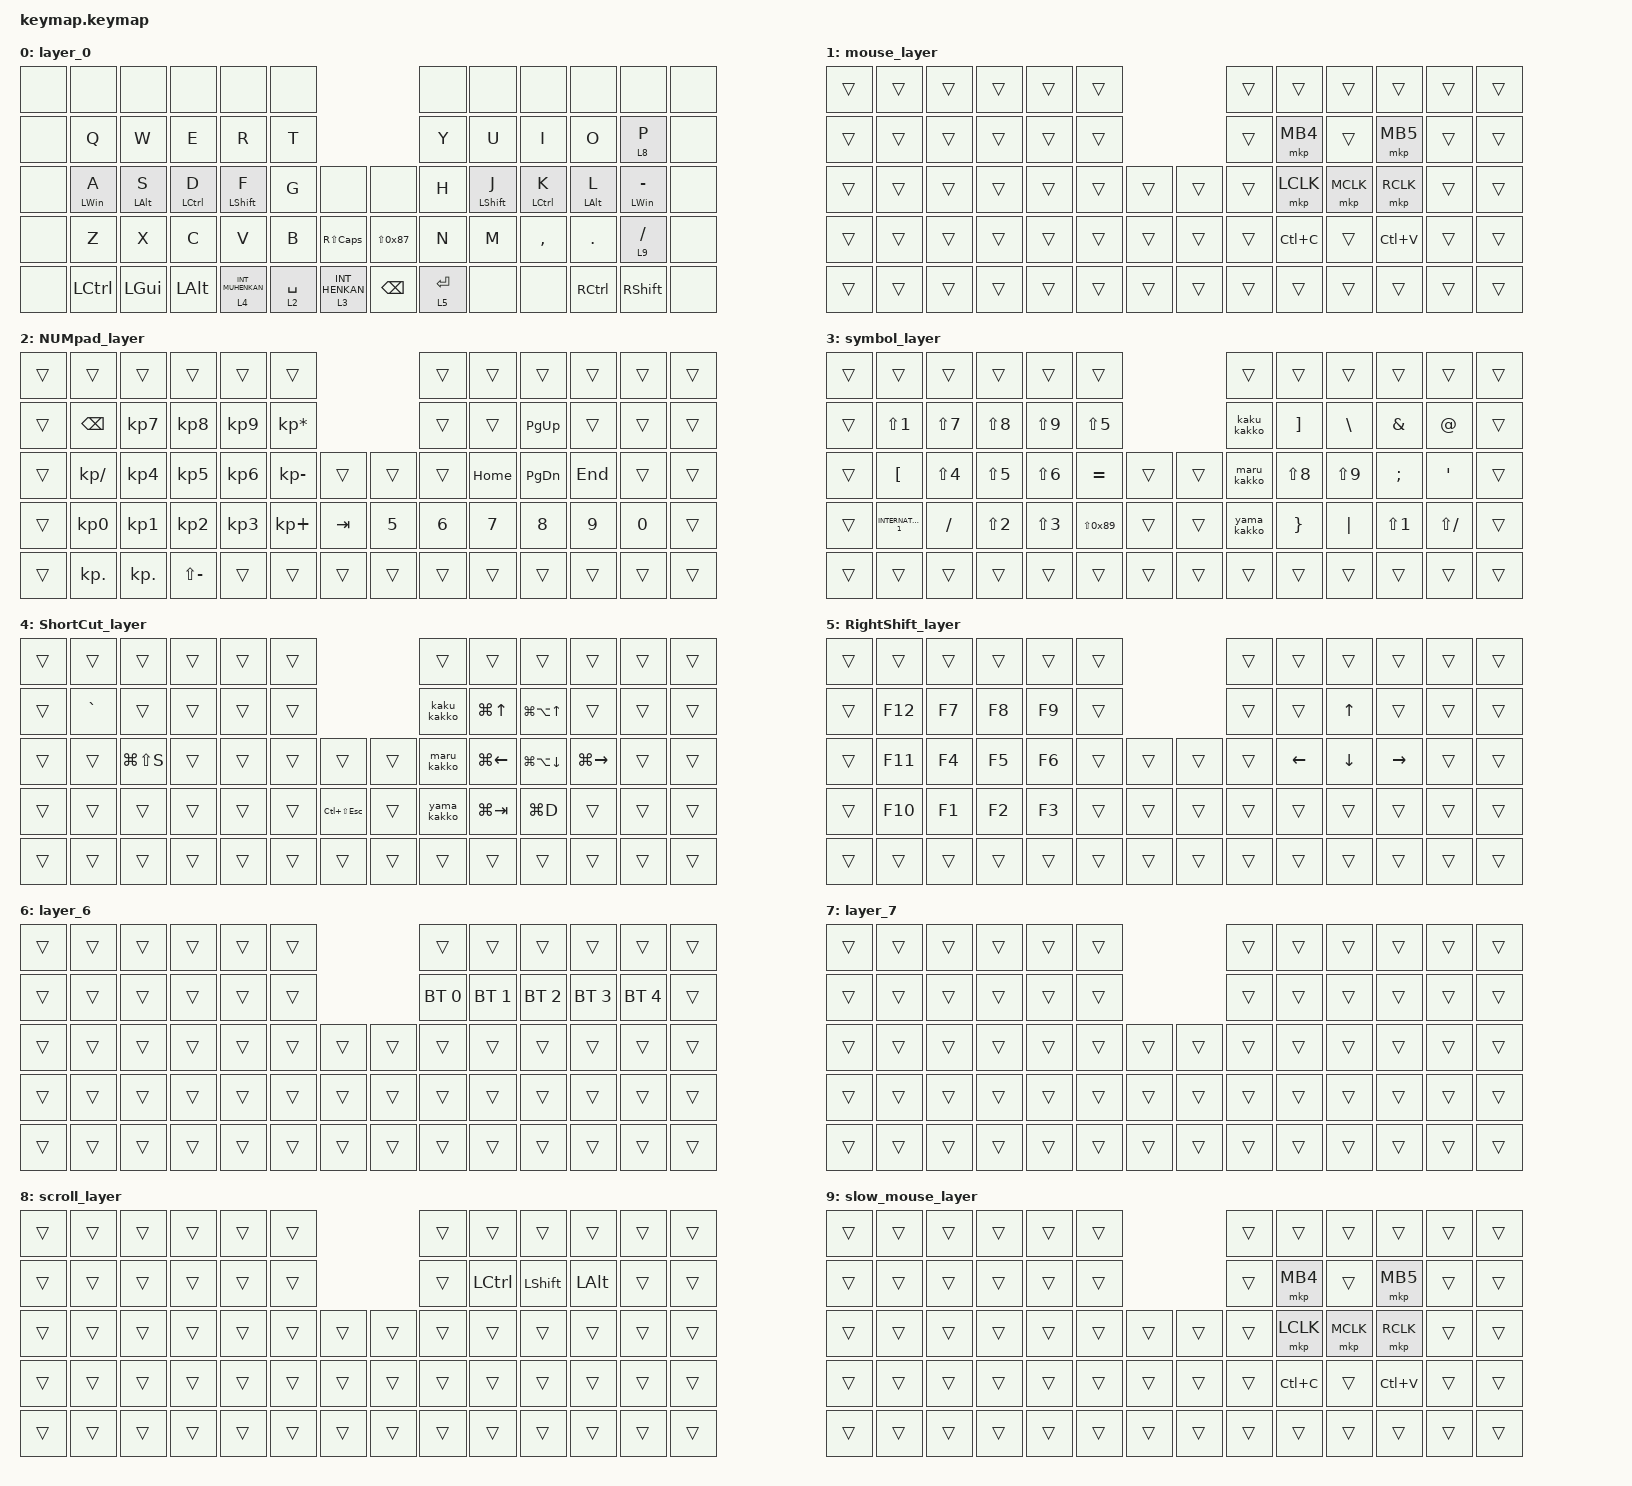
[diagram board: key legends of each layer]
// OS設定を日本語キーボードのまま使用するための変換定義

#define JP_DQUOTE       AT                // "
#define JP_AMPERSAND    CARET             // &
#define JP_QUOTE        AMPERSAND         // '
#define JP_EQUAL        UNDER             // =
#define JP_CARET        EQUAL             // ^
#define JP_YEN          0x89              // ¥
#define JP_PLUS         COLON             // +
#define JP_TILDE        PLUS              // ~
#define JP_PIPE         LS(0x89)          // |
#define JP_AT           LEFT_BRACKET      // @
#define JP_COLON        SINGLE_QUOTE      // :
#define JP_ASTERISK     DOUBLE_QUOTES     // *
#define JP_BACKQUOTE    LEFT_BRACE        // `
#define JP_UNDERSCORE   LS(0x87)          // _
#define JP_LBRACKET     RIGHT_BRACKET     // [
#define JP_RBRACKET     BACKSLASH         // ]
#define JP_LPAREN       ASTERISK          // (
#define JP_RPAREN       LEFT_PARENTHESIS  // )
#define JP_LBRACE       RIGHT_BRACE       // {
#define JP_RBRACE       PIPE              // }
#define JP_KANA         LANGUAGE_1        // かな
#define JP_EISU         LANGUAGE_2        // 英数
#define JP_HANZEN       GRAVE             // 半角/全角

#include <input/processors.dtsi>
#include <behaviors.dtsi>
#include <dt-bindings/zmk/bt.h>
#include <dt-bindings/zmk/keys.h>
#include <dt-bindings/zmk/pointing.h>

&mkp_input_listener { input-processors = <&zip_temp_layer 1 500>; };

/ {
    combos {
        compatible = "zmk,combos";

        mo_BTlayer {
            bindings = <&mo 6>;
            key-positions = <42 43>;
        };

        kp_back_space {
            bindings = <&kp BACKSPACE>;
            key-positions = <12 13>;
        };

        kp_esc {
            bindings = <&kp ESCAPE>;
            key-positions = <1 2>;
        };

        kp_delete {
            bindings = <&kp DELETE>;
            key-positions = <2 3>;
        };

        kp_tab {
            bindings = <&kp TAB>;
            key-positions = <11 12>;
        };

        kp_backslash {
            bindings = <&kp JP_YEN>;
            key-positions = <30 31>;
        };
    };

    macros {
        maru_kakko: maru_kakko {
            compatible = "zmk,behavior-macro";
            #binding-cells = <0>;
            bindings = <&kp LS(N8) &kp LS(N9) &kp LEFT>;
            label = "MARU_KAKKO";
        };

        kaku_kakko: kaku_kakko {
            compatible = "zmk,behavior-macro";
            #binding-cells = <0>;
            bindings = <&kp RIGHT_BRACKET &kp BACKSLASH &kp LEFT>;
            label = "KAKU_KAKKO";
        };

        yama_kakko: yama_kakko {
            compatible = "zmk,behavior-macro";
            #binding-cells = <0>;
            bindings = <&kp LESS_THAN &kp GREATER_THAN &kp LEFT_ARROW>;
            label = "YAMA_KAKKO";
        };
    };

    behaviors {
        hrm_r_2: hrm_r_2 {
            compatible = "zmk,behavior-hold-tap";
            label = "HRM_R_2";
            bindings = <&kp>, <&kp>;

            #binding-cells = <2>;
            flavor = "balanced";
            tapping-term-ms = <400>;
            hold-trigger-on-release;
            require-prior-idle-ms = <150>;
            hold-while-undecided;
            hold-trigger-key-positions = <0 1 2 3 4 12 13 14 24 25 10 11 20 21 22 23 32 33 34 35 36 37>;
        };

        hrm_r: hrm_r {
            compatible = "zmk,behavior-hold-tap";
            label = "HRM_R";
            bindings = <&kp>, <&kp>;

            #binding-cells = <2>;
            tapping-term-ms = <400>;
            flavor = "balanced";
            hold-trigger-key-positions = <0 1 2 3 4 12 13 14 24 25 10 11 20 21 22 23 32 33 34 35 36 37>;
            hold-trigger-on-release;
            require-prior-idle-ms = <150>;
        };

        hrm_l_2: hrm_l_2 {
            compatible = "zmk,behavior-hold-tap";
            label = "HRM_L_2";
            bindings = <&kp>, <&kp>;

            #binding-cells = <2>;
            flavor = "balanced";
            tapping-term-ms = <400>;
            hold-trigger-on-release;
            require-prior-idle-ms = <150>;
            hold-while-undecided;
            hold-trigger-key-positions = <5 6 7 8 9 15 16 17 18 19 26 27 28 29 30 31 38 39 40 41 42 43>;
        };

        hrm_l: hrm_l {
            compatible = "zmk,behavior-hold-tap";
            label = "HRM_L";
            bindings = <&kp>, <&kp>;

            #binding-cells = <2>;
            flavor = "balanced";
            tapping-term-ms = <400>;
            hold-trigger-on-release;
            require-prior-idle-ms = <150>;
            hold-trigger-key-positions = <5 6 7 8 9 15 16 17 18 19 26 27 28 29 30 31 38 39 40 41 42 43>;
        };
    };

    keymap {
        compatible = "zmk,keymap";

        layer_0 {
            bindings = <
&none  &none              &none              &none                  &none                  &none                                             &none        &none                  &none                  &none              &none                  &none
&none  &kp Q              &kp W              &kp E                  &kp R                  &kp T                                             &kp Y        &kp U                  &kp I                  &kp O              &lt 8 P                &none
&none  &hrm_l LEFT_WIN A  &hrm_l LEFT_ALT S  &hrm_l LEFT_CONTROL D  &hrm_l_2 LEFT_SHIFT F  &kp G        &none             &none              &kp H        &hrm_r_2 LEFT_SHIFT J  &hrm_r LEFT_CONTROL K  &hrm_r LEFT_ALT L  &hrm_r LEFT_WIN MINUS  &none
&none  &kp Z              &kp X              &kp C                  &kp V                  &kp B        &kp RS(CAPSLOCK)  &kp JP_UNDERSCORE  &kp N        &kp M                  &kp COMMA              &kp DOT            &lt 9 FSLH             &none
&none  &kp LCTRL          &kp LGUI           &kp LALT               &lt 4 INT_MUHENKAN     &lt 2 SPACE  &lt 3 INT_HENKAN  &kp BACKSPACE      &lt 5 ENTER  &none                  &none                  &kp RCTRL          &kp RSHIFT             &none
            >;
        };

        mouse_layer {
            bindings = <
&trans  &trans  &trans  &trans  &trans  &trans                  &trans  &trans     &trans     &trans     &trans  &trans
&trans  &trans  &trans  &trans  &trans  &trans                  &trans  &mkp MB4   &trans     &mkp MB5   &trans  &trans
&trans  &trans  &trans  &trans  &trans  &trans  &trans  &trans  &trans  &mkp LCLK  &mkp MCLK  &mkp RCLK  &trans  &trans
&trans  &trans  &trans  &trans  &trans  &trans  &trans  &trans  &trans  &kp LC(C)  &trans     &kp LC(V)  &trans  &trans
&trans  &trans  &trans  &trans  &trans  &trans  &trans  &trans  &trans  &trans     &trans     &trans     &trans  &trans
            >;
        };

        NUMpad_layer {
            bindings = <
&trans  &trans           &trans           &trans           &trans           &trans                            &trans  &trans    &trans     &trans   &trans  &trans
&trans  &kp BACKSPACE    &kp KP_NUMBER_7  &kp KP_NUMBER_8  &kp KP_NUMBER_9  &kp KP_ASTERISK                   &trans  &trans    &kp PG_UP  &trans   &trans  &trans
&trans  &kp KP_SLASH     &kp KP_NUMBER_4  &kp KP_NUMBER_5  &kp KP_NUMBER_6  &kp KP_MINUS     &trans   &trans  &trans  &kp HOME  &kp PG_DN  &kp END  &trans  &trans
&trans  &kp KP_NUMBER_0  &kp KP_NUMBER_1  &kp KP_NUMBER_2  &kp KP_NUMBER_3  &kp KP_PLUS      &kp TAB  &kp N5  &kp N6  &kp N7    &kp N8     &kp N9   &kp N0  &trans
&trans  &kp KP_DOT       &kp KP_DOT       &kp LS(MINUS)    &trans           &trans           &trans   &trans  &trans  &trans    &trans     &trans   &trans  &trans
            >;
        };

        symbol_layer {
            bindings = <
&trans  &trans               &trans      &trans      &trans      &trans                       &trans       &trans             &trans         &trans         &trans            &trans
&trans  &kp LS(NUMBER_1)     &kp LS(N7)  &kp LS(N8)  &kp LS(N9)  &kp LS(N5)                   &kaku_kakko  &kp RIGHT_BRACKET  &kp BACKSLASH  &kp AMPERSAND  &kp AT            &trans
&trans  &kp LEFT_BRACKET     &kp LS(N4)  &kp LS(N5)  &kp LS(N6)  &kp EQUAL    &trans  &trans  &maru_kakko  &kp LS(N8)         &kp LS(N9)     &kp SEMICOLON  &kp SINGLE_QUOTE  &trans
&trans  &kp INTERNATIONAL_1  &kp FSLH    &kp LS(N2)  &kp LS(N3)  &kp JP_PIPE  &trans  &trans  &yama_kakko  &kp RIGHT_BRACE    &kp PIPE       &kp LS(N1)     &kp LS(SLASH)     &trans
&trans  &trans               &trans      &trans      &trans      &trans       &trans  &trans  &trans       &trans             &trans         &trans         &trans            &trans
            >;
        };

        ShortCut_layer {
            bindings = <
&trans  &trans     &trans         &trans  &trans  &trans                              &trans       &trans              &trans                  &trans               &trans  &trans
&trans  &kp GRAVE  &trans         &trans  &trans  &trans                              &kaku_kakko  &kp LG(UP_ARROW)    &kp LG(LA(UP_ARROW))    &trans               &trans  &trans
&trans  &trans     &kp LG(LS(S))  &trans  &trans  &trans  &trans              &trans  &maru_kakko  &kp LG(LEFT_ARROW)  &kp LG(LA(DOWN_ARROW))  &kp LG(RIGHT_ARROW)  &trans  &trans
&trans  &trans     &trans         &trans  &trans  &trans  &kp LC(LS(ESCAPE))  &trans  &yama_kakko  &kp LG(TAB)         &kp LG(D)               &trans               &trans  &trans
&trans  &trans     &trans         &trans  &trans  &trans  &trans              &trans  &trans       &trans              &trans                  &trans               &trans  &trans
            >;
        };

        RightShift_layer {
            bindings = <
&trans  &trans   &trans  &trans  &trans  &trans                  &trans  &trans    &trans    &trans     &trans  &trans
&trans  &kp F12  &kp F7  &kp F8  &kp F9  &trans                  &trans  &trans    &kp UP    &trans     &trans  &trans
&trans  &kp F11  &kp F4  &kp F5  &kp F6  &trans  &trans  &trans  &trans  &kp LEFT  &kp DOWN  &kp RIGHT  &trans  &trans
&trans  &kp F10  &kp F1  &kp F2  &kp F3  &trans  &trans  &trans  &trans  &trans    &trans    &trans     &trans  &trans
&trans  &trans   &trans  &trans  &trans  &trans  &trans  &trans  &trans  &trans    &trans    &trans     &trans  &trans
            >;
        };

        layer_6 {
            bindings = <
&trans  &trans  &trans  &trans  &trans  &trans                  &trans        &trans        &trans        &trans        &trans        &trans
&trans  &trans  &trans  &trans  &trans  &trans                  &bt BT_SEL 0  &bt BT_SEL 1  &bt BT_SEL 2  &bt BT_SEL 3  &bt BT_SEL 4  &trans
&trans  &trans  &trans  &trans  &trans  &trans  &trans  &trans  &trans        &trans        &trans        &trans        &trans        &trans
&trans  &trans  &trans  &trans  &trans  &trans  &trans  &trans  &trans        &trans        &trans        &trans        &trans        &trans
&trans  &trans  &trans  &trans  &trans  &trans  &trans  &trans  &trans        &trans        &trans        &trans        &trans        &trans
            >;
        };

        layer_7 {
            bindings = <
&trans  &trans  &trans  &trans  &trans  &trans                  &trans  &trans  &trans  &trans  &trans  &trans
&trans  &trans  &trans  &trans  &trans  &trans                  &trans  &trans  &trans  &trans  &trans  &trans
&trans  &trans  &trans  &trans  &trans  &trans  &trans  &trans  &trans  &trans  &trans  &trans  &trans  &trans
&trans  &trans  &trans  &trans  &trans  &trans  &trans  &trans  &trans  &trans  &trans  &trans  &trans  &trans
&trans  &trans  &trans  &trans  &trans  &trans  &trans  &trans  &trans  &trans  &trans  &trans  &trans  &trans
            >;
        };

        scroll_layer {
            bindings = <
&trans  &trans  &trans  &trans  &trans  &trans                  &trans  &trans            &trans          &trans        &trans  &trans
&trans  &trans  &trans  &trans  &trans  &trans                  &trans  &kp LEFT_CONTROL  &kp LEFT_SHIFT  &kp LEFT_ALT  &trans  &trans
&trans  &trans  &trans  &trans  &trans  &trans  &trans  &trans  &trans  &trans            &trans          &trans        &trans  &trans
&trans  &trans  &trans  &trans  &trans  &trans  &trans  &trans  &trans  &trans            &trans          &trans        &trans  &trans
&trans  &trans  &trans  &trans  &trans  &trans  &trans  &trans  &trans  &trans            &trans          &trans        &trans  &trans
            >;
        };

        slow_mouse_layer {
            bindings = <
&trans  &trans  &trans  &trans  &trans  &trans                  &trans  &trans     &trans     &trans     &trans  &trans
&trans  &trans  &trans  &trans  &trans  &trans                  &trans  &mkp MB4   &trans     &mkp MB5   &trans  &trans
&trans  &trans  &trans  &trans  &trans  &trans  &trans  &trans  &trans  &mkp LCLK  &mkp MCLK  &mkp RCLK  &trans  &trans
&trans  &trans  &trans  &trans  &trans  &trans  &trans  &trans  &trans  &kp LC(C)  &trans     &kp LC(V)  &trans  &trans
&trans  &trans  &trans  &trans  &trans  &trans  &trans  &trans  &trans  &trans     &trans     &trans     &trans  &trans
            >;
        };
    };
};
